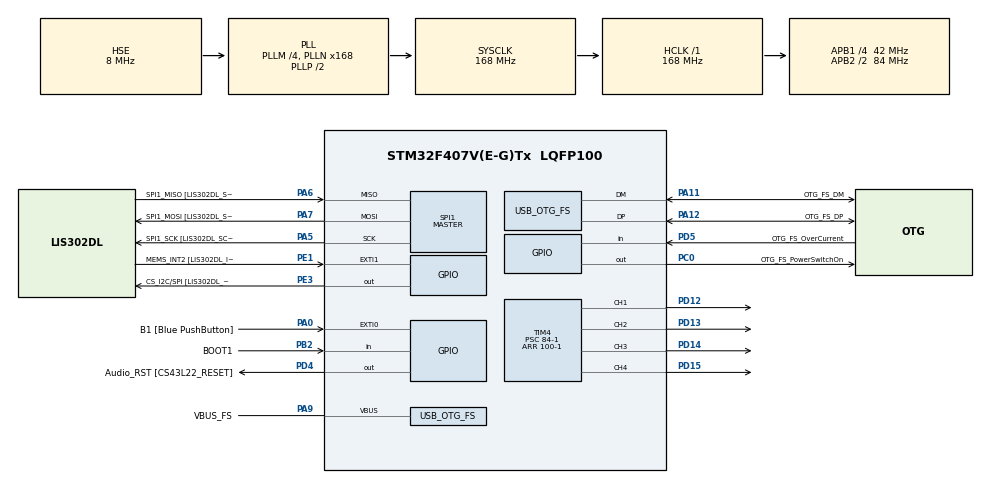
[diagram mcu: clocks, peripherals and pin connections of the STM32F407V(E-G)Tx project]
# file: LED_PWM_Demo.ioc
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Mcu.Family=STM32F4
Mcu.Name=STM32F407V(E-G)Tx
Mcu.Package=LQFP100
NVIC.OTG_FS_IRQn=true\:0\:0\:false\:false\:true\:true\:true\:true
NVIC.PriorityGroup=NVIC_PRIORITYGROUP_0
PA0-WKUP.GPIO_Label=B1 [Blue PushButton]
PA0-WKUP.GPIO_ModeDefaultEXTI=GPIO_MODE_EVT_RISING
PA0-WKUP.GPIO_PuPd=GPIO_NOPULL
PA0-WKUP.Signal=GPXTI0
PA10.GPIO_Label=OTG_FS_ID
PA10.GPIO_Mode=GPIO_MODE_AF_PP
PA10.GPIO_PuPd=GPIO_NOPULL
PA10.GPIO_Speed=GPIO_SPEED_FREQ_LOW
PA10.Signal=USB_OTG_FS_ID
PA11.GPIO_Label=OTG_FS_DM
PA11.GPIO_Mode=GPIO_MODE_AF_PP
PA11.GPIO_PuPd=GPIO_NOPULL
PA11.GPIO_Speed=GPIO_SPEED_FREQ_LOW
PA11.Mode=Device_Only
PA11.Signal=USB_OTG_FS_DM
PA12.GPIO_Label=OTG_FS_DP
PA12.GPIO_Mode=GPIO_MODE_AF_PP
PA12.GPIO_PuPd=GPIO_NOPULL
PA12.GPIO_Speed=GPIO_SPEED_FREQ_LOW
PA12.Mode=Device_Only
PA12.Signal=USB_OTG_FS_DP
PA13.GPIO_Label=SWDIO
PA13.Mode=Serial_Wire
PA13.Signal=SYS_JTMS-SWDIO
PA14.GPIO_Label=SWCLK
PA14.Mode=Serial_Wire
PA14.Signal=SYS_JTCK-SWCLK
PA4.GPIO_Label=I2S3_WS [CS43L22_LRCK]
PA4.GPIO_Mode=GPIO_MODE_AF_PP
PA4.GPIO_PuPd=GPIO_NOPULL
PA4.GPIO_Speed=GPIO_SPEED_FREQ_LOW
PA4.Signal=I2S3_WS
PA5.GPIO_Label=SPI1_SCK [LIS302DL_SCL/SPC]
PA5.GPIO_Mode=GPIO_MODE_AF_PP
PA5.GPIO_PuPd=GPIO_NOPULL
PA5.GPIO_Speed=GPIO_SPEED_FREQ_LOW
PA5.Mode=Full_Duplex_Master
PA5.Signal=SPI1_SCK
PA6.GPIO_Label=SPI1_MISO [LIS302DL_SDO]
PA6.GPIO_Mode=GPIO_MODE_AF_PP
PA6.GPIO_PuPd=GPIO_NOPULL
PA6.GPIO_Speed=GPIO_SPEED_FREQ_LOW
PA6.Mode=Full_Duplex_Master
PA6.Signal=SPI1_MISO
PA7.GPIO_Label=SPI1_MOSI [LIS302DL_SDA/SDI/SDO]
PA7.GPIO_Mode=GPIO_MODE_AF_PP
PA7.GPIO_PuPd=GPIO_NOPULL
PA7.GPIO_Speed=GPIO_SPEED_FREQ_LOW
PA7.Mode=Full_Duplex_Master
PA7.Signal=SPI1_MOSI
PA9.GPIO_Label=VBUS_FS
PA9.GPIO_Mode=GPIO_MODE_INPUT
PA9.GPIO_PuPd=GPIO_NOPULL
PA9.Mode=Activate_VBUS
PA9.Signal=USB_OTG_FS_VBUS
PB10.GPIO_Label=CLK_IN [MP45DT02_CLK]
PB10.GPIO_Mode=GPIO_MODE_AF_PP
PB10.GPIO_PuPd=GPIO_NOPULL
PB10.GPIO_Speed=GPIO_SPEED_FREQ_LOW
PB10.Signal=I2S2_CK
PB2.GPIO_Label=BOOT1
PB2.GPIO_Mode=GPIO_MODE_INPUT
PB2.GPIO_PuPd=GPIO_NOPULL
PB2.Signal=GPIO_Input
PB3.GPIO_Label=SWO
PB3.Signal=SYS_JTDO-SWO
PB6.GPIO_Label=Audio_SCL [CS43L22_SCL]
PB6.GPIO_Mode=GPIO_MODE_AF_OD
PB6.GPIO_PuPd=GPIO_NOPULL
PB6.GPIO_Speed=GPIO_SPEED_FREQ_LOW
PB6.Signal=I2C1_SCL
PB9.GPIO_Label=Audio_SDA [CS43L22_SDA]
PB9.GPIO_Mode=GPIO_MODE_AF_OD
PB9.GPIO_PuPd=GPIO_NOPULL
PB9.GPIO_Speed=GPIO_SPEED_FREQ_LOW
PB9.Signal=I2C1_SDA
PC0.GPIO_Label=OTG_FS_PowerSwitchOn
PC0.GPIO_PuPd=GPIO_NOPULL
PC0.GPIO_Speed=GPIO_SPEED_FREQ_LOW
PC0.PinState=GPIO_PIN_SET
PC0.Signal=GPIO_Output
PC10.GPIO_Label=I2S3_SCK [CS43L22_SCLK]
PC10.GPIO_Mode=GPIO_MODE_AF_PP
PC10.GPIO_PuPd=GPIO_NOPULL
PC10.GPIO_Speed=GPIO_SPEED_FREQ_LOW
PC10.Signal=I2S3_CK
PC12.GPIO_Label=I2S3_SD [CS43L22_SDIN]
PC12.GPIO_Mode=GPIO_MODE_AF_PP
PC12.GPIO_PuPd=GPIO_NOPULL
PC12.GPIO_Speed=GPIO_SPEED_FREQ_LOW
PC12.Signal=I2S3_SD
PC14-OSC32_IN.GPIO_Label=PC14-OSC32_IN
PC14-OSC32_IN.Mode=LSE-External-Oscillator
PC14-OSC32_IN.Signal=RCC_OSC32_IN
PC15-OSC32_OUT.GPIO_Label=PC15-OSC32_OUT
PC15-OSC32_OUT.Mode=LSE-External-Oscillator
PC15-OSC32_OUT.Signal=RCC_OSC32_OUT
PC3.GPIO_Label=PDM_OUT [MP45DT02_DOUT]
PC3.GPIO_Mode=GPIO_MODE_AF_PP
PC3.GPIO_PuPd=GPIO_NOPULL
PC3.GPIO_Speed=GPIO_SPEED_FREQ_LOW
PC3.Signal=I2S2_SD
PC7.GPIO_Label=I2S3_MCK [CS43L22_MCLK]
PC7.GPIO_Mode=GPIO_MODE_AF_PP
PC7.GPIO_PuPd=GPIO_NOPULL
PC7.GPIO_Speed=GPIO_SPEED_FREQ_LOW
PC7.Signal=I2S3_MCK
PD12.Signal=S_TIM4_CH1
PD13.Signal=S_TIM4_CH2
PD14.Signal=S_TIM4_CH3
PD15.Signal=S_TIM4_CH4
PD4.GPIO_Label=Audio_RST [CS43L22_RESET]
PD4.GPIO_PuPd=GPIO_NOPULL
PD4.GPIO_Speed=GPIO_SPEED_FREQ_LOW
PD4.Signal=GPIO_Output
PD5.GPIO_Label=OTG_FS_OverCurrent
PD5.GPIO_Mode=GPIO_MODE_INPUT
PD5.GPIO_PuPd=GPIO_NOPULL
PD5.Signal=GPIO_Input
PE1.GPIO_Label=MEMS_INT2 [LIS302DL_INT2]
PE1.GPIO_ModeDefaultEXTI=GPIO_MODE_EVT_RISING
PE1.GPIO_PuPd=GPIO_NOPULL
PE1.Signal=GPXTI1
PE3.GPIO_Label=CS_I2C/SPI [LIS302DL_CS_I2C/SPI]
PE3.GPIO_PuPd=GPIO_NOPULL
PE3.GPIO_Speed=GPIO_SPEED_FREQ_LOW
PE3.Signal=GPIO_Output
PH0-OSC_IN.GPIO_Label=PH0-OSC_IN
PH0-OSC_IN.Mode=HSE-External-Oscillator
PH0-OSC_IN.Signal=RCC_OSC_IN
PH1-OSC_OUT.GPIO_Label=PH1-OSC_OUT
PH1-OSC_OUT.Mode=HSE-External-Oscillator
PH1-OSC_OUT.Signal=RCC_OSC_OUT
ProjectManager.HeapSize=0x200
ProjectManager.StackSize=0x400
ProjectManager.TargetToolchain=STM32CubeIDE
RCC.48MHZClocksFreq_Value=48000000
RCC.AHBFreq_Value=168000000
RCC.APB1CLKDivider=RCC_HCLK_DIV4
RCC.APB1Freq_Value=42000000
RCC.APB1TimFreq_Value=84000000
RCC.APB2CLKDivider=RCC_HCLK_DIV2
RCC.APB2Freq_Value=84000000
RCC.APB2TimFreq_Value=168000000
RCC.CortexFreq_Value=168000000
RCC.HCLKFreq_Value=168000000
RCC.HSE_VALUE=8000000
RCC.HSI_VALUE=16000000
RCC.PLLI2SN=50
RCC.PLLM=4
RCC.PLLN=168
RCC.PLLQ=7
RCC.SYSCLKFreq_VALUE=168000000
RCC.SYSCLKSource=RCC_SYSCLKSOURCE_PLLCLK
RCC.VCOOutputFreq_Value=336000000
SH.S_TIM4_CH1.0=TIM4_CH1,PWM Generation1 CH1
SH.S_TIM4_CH2.0=TIM4_CH2,PWM Generation2 CH2
SH.S_TIM4_CH3.0=TIM4_CH3,PWM Generation3 CH3
SH.S_TIM4_CH4.0=TIM4_CH4,PWM Generation4 CH4
SPI1.BaudRatePrescaler-Full_Duplex_Master=SPI_BAUDRATEPRESCALER_2
SPI1.CalculateBaudRate-Full_Duplex_Master=42.0 MBits/s
SPI1.Direction=SPI_DIRECTION_2LINES
SPI1.Mode=SPI_MODE_MASTER
SPI1.Mode-Full_Duplex_Master=SPI_MODE_MASTER
SPI1.VirtualType=VM_MASTER
TIM4.Channel-PWM\ Generation1\ CH1=TIM_CHANNEL_1
TIM4.Channel-PWM\ Generation2\ CH2=TIM_CHANNEL_2
TIM4.Channel-PWM\ Generation3\ CH3=TIM_CHANNEL_3
TIM4.Channel-PWM\ Generation4\ CH4=TIM_CHANNEL_4
TIM4.Period=100-1
TIM4.Prescaler=84-1
USB_DEVICE.CLASS_NAME_FS=CDC
USB_DEVICE.VirtualMode-CDC_FS=Cdc
USB_DEVICE.VirtualModeFS=Cdc_FS
USB_OTG_FS.VirtualMode=Device_Only
VP_TIM4_VS_ClockSourceINT.Mode=Internal
VP_USB_DEVICE_VS_USB_DEVICE_CDC_FS.Mode=CDC_FS
board=STM32F407G-DISC1

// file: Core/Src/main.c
/* USER CODE BEGIN Header */
/**
  ******************************************************************************
  * @file           : main.c
  * @brief          : Main program body
  ******************************************************************************
  * @attention
  *
  * <h2><center>&copy; Copyright (c) 2021 STMicroelectronics.
  * All rights reserved.</center></h2>
  *
  * This software component is licensed by ST under Ultimate Liberty license
  * SLA0044, the "License"; You may not use this file except in compliance with
  * the License. You may obtain a copy of the License at:
  *                             www.st.com/SLA0044
  *
  ******************************************************************************
  */
/* USER CODE END Header */
#include "main.h"
#include "usb_device.h"

SPI_HandleTypeDef hspi1;

TIM_HandleTypeDef htim4;

/* USER CODE BEGIN PV */
#define BUFSIZE 256
char SendBuffer[BUFSIZE];

/* USER CODE END PV */

void SystemClock_Config(void);
static void MX_GPIO_Init(void);
static void MX_SPI1_Init(void);
static void MX_TIM4_Init(void);

int main(void)
{
  /* USER CODE BEGIN 1 */

	int duty = 0;

  /* USER CODE END 1 */

  /* MCU Configuration--------------------------------------------------------*/

  /* Reset of all peripherals, Initializes the Flash interface and the Systick. */
  HAL_Init();

  /* Configure the system clock */
  SystemClock_Config();

  /* Initialize all configured peripherals */
  MX_GPIO_Init();
  MX_SPI1_Init();
  MX_USB_DEVICE_Init();
  MX_TIM4_Init();
  /* USER CODE BEGIN 2 */

  HAL_TIM_PWM_Start(&htim4, TIM_CHANNEL_1);
  HAL_TIM_PWM_Start(&htim4, TIM_CHANNEL_2);
  HAL_TIM_PWM_Start(&htim4, TIM_CHANNEL_3);
  HAL_TIM_PWM_Start(&htim4, TIM_CHANNEL_4);

  /* USER CODE END 2 */

  /* Infinite loop */
  /* USER CODE BEGIN WHILE */
  while (1)
  {
	  htim4.Instance->CCR1 = duty;
	  htim4.Instance->CCR2 = 100-duty;
	  htim4.Instance->CCR3 = duty;
	  htim4.Instance->CCR4 = 100-duty;

    /* USER CODE END WHILE */

    /* USER CODE BEGIN 3 */
	    snprintf (SendBuffer,BUFSIZE,"USB:0.1 secs. Duty=%d%%\r\n",duty);
	    CDC_Transmit_FS(SendBuffer,strlen(SendBuffer));

	      duty = (duty + 1) ;
	      if (duty > 100 )
	        duty = 0;

	    HAL_Delay(100);

  }
  /* USER CODE END 3 */
}

void SystemClock_Config(void)
{
  RCC_OscInitTypeDef RCC_OscInitStruct = {0};
  RCC_ClkInitTypeDef RCC_ClkInitStruct = {0};

  /** Configure the main internal regulator output voltage
  */
  __HAL_RCC_PWR_CLK_ENABLE();
  __HAL_PWR_VOLTAGESCALING_CONFIG(PWR_REGULATOR_VOLTAGE_SCALE1);
  /** Initializes the RCC Oscillators according to the specified parameters
  * in the RCC_OscInitTypeDef structure.
  */
  RCC_OscInitStruct.OscillatorType = RCC_OSCILLATORTYPE_HSE;
  RCC_OscInitStruct.HSEState = RCC_HSE_ON;
  RCC_OscInitStruct.PLL.PLLState = RCC_PLL_ON;
  RCC_OscInitStruct.PLL.PLLSource = RCC_PLLSOURCE_HSE;
  RCC_OscInitStruct.PLL.PLLM = 4;
  RCC_OscInitStruct.PLL.PLLN = 168;
  RCC_OscInitStruct.PLL.PLLP = RCC_PLLP_DIV2;
  RCC_OscInitStruct.PLL.PLLQ = 7;
  if (HAL_RCC_OscConfig(&RCC_OscInitStruct) != HAL_OK)
  {
    Error_Handler();
  }
  /** Initializes the CPU, AHB and APB buses clocks
  */
  RCC_ClkInitStruct.ClockType = RCC_CLOCKTYPE_HCLK|RCC_CLOCKTYPE_SYSCLK
                              |RCC_CLOCKTYPE_PCLK1|RCC_CLOCKTYPE_PCLK2;
  RCC_ClkInitStruct.SYSCLKSource = RCC_SYSCLKSOURCE_PLLCLK;
  RCC_ClkInitStruct.AHBCLKDivider = RCC_SYSCLK_DIV1;
  RCC_ClkInitStruct.APB1CLKDivider = RCC_HCLK_DIV4;
  RCC_ClkInitStruct.APB2CLKDivider = RCC_HCLK_DIV2;

  if (HAL_RCC_ClockConfig(&RCC_ClkInitStruct, FLASH_LATENCY_5) != HAL_OK)
  {
    Error_Handler();
  }
}

static void MX_SPI1_Init(void)
{

  /* SPI1 parameter configuration*/
  hspi1.Instance = SPI1;
  hspi1.Init.Mode = SPI_MODE_MASTER;
  hspi1.Init.Direction = SPI_DIRECTION_2LINES;
  hspi1.Init.DataSize = SPI_DATASIZE_8BIT;
  hspi1.Init.CLKPolarity = SPI_POLARITY_LOW;
  hspi1.Init.CLKPhase = SPI_PHASE_1EDGE;
  hspi1.Init.NSS = SPI_NSS_SOFT;
  hspi1.Init.BaudRatePrescaler = SPI_BAUDRATEPRESCALER_2;
  hspi1.Init.FirstBit = SPI_FIRSTBIT_MSB;
  hspi1.Init.TIMode = SPI_TIMODE_DISABLE;
  hspi1.Init.CRCCalculation = SPI_CRCCALCULATION_DISABLE;
  hspi1.Init.CRCPolynomial = 10;
  if (HAL_SPI_Init(&hspi1) != HAL_OK)
  {
    Error_Handler();
  }

}

static void MX_TIM4_Init(void)
{

  TIM_ClockConfigTypeDef sClockSourceConfig = {0};
  TIM_MasterConfigTypeDef sMasterConfig = {0};
  TIM_OC_InitTypeDef sConfigOC = {0};

  htim4.Instance = TIM4;
  htim4.Init.Prescaler = 84-1;
  htim4.Init.CounterMode = TIM_COUNTERMODE_UP;
  htim4.Init.Period = 100-1;
  htim4.Init.ClockDivision = TIM_CLOCKDIVISION_DIV1;
  htim4.Init.AutoReloadPreload = TIM_AUTORELOAD_PRELOAD_DISABLE;
  if (HAL_TIM_Base_Init(&htim4) != HAL_OK)
  {
    Error_Handler();
  }
  sClockSourceConfig.ClockSource = TIM_CLOCKSOURCE_INTERNAL;
  if (HAL_TIM_ConfigClockSource(&htim4, &sClockSourceConfig) != HAL_OK)
  {
    Error_Handler();
  }
  if (HAL_TIM_PWM_Init(&htim4) != HAL_OK)
  {
    Error_Handler();
  }
  sMasterConfig.MasterOutputTrigger = TIM_TRGO_RESET;
  sMasterConfig.MasterSlaveMode = TIM_MASTERSLAVEMODE_DISABLE;
  if (HAL_TIMEx_MasterConfigSynchronization(&htim4, &sMasterConfig) != HAL_OK)
  {
    Error_Handler();
  }
  sConfigOC.OCMode = TIM_OCMODE_PWM1;
  sConfigOC.Pulse = 0;
  sConfigOC.OCPolarity = TIM_OCPOLARITY_HIGH;
  sConfigOC.OCFastMode = TIM_OCFAST_DISABLE;
  if (HAL_TIM_PWM_ConfigChannel(&htim4, &sConfigOC, TIM_CHANNEL_1) != HAL_OK)
  {
    Error_Handler();
  }
  if (HAL_TIM_PWM_ConfigChannel(&htim4, &sConfigOC, TIM_CHANNEL_2) != HAL_OK)
  {
    Error_Handler();
  }
  if (HAL_TIM_PWM_ConfigChannel(&htim4, &sConfigOC, TIM_CHANNEL_3) != HAL_OK)
  {
    Error_Handler();
  }
  if (HAL_TIM_PWM_ConfigChannel(&htim4, &sConfigOC, TIM_CHANNEL_4) != HAL_OK)
  {
    Error_Handler();
  }
  HAL_TIM_MspPostInit(&htim4);

}

static void MX_GPIO_Init(void)
{
  GPIO_InitTypeDef GPIO_InitStruct = {0};

  /* GPIO Ports Clock Enable */
  __HAL_RCC_GPIOE_CLK_ENABLE();
  __HAL_RCC_GPIOC_CLK_ENABLE();
  __HAL_RCC_GPIOH_CLK_ENABLE();
  __HAL_RCC_GPIOA_CLK_ENABLE();
  __HAL_RCC_GPIOB_CLK_ENABLE();
  __HAL_RCC_GPIOD_CLK_ENABLE();

  /*Configure GPIO pin Output Level */
  HAL_GPIO_WritePin(CS_I2C_SPI_GPIO_Port, CS_I2C_SPI_Pin, GPIO_PIN_RESET);

  /*Configure GPIO pin Output Level */
  HAL_GPIO_WritePin(OTG_FS_PowerSwitchOn_GPIO_Port, OTG_FS_PowerSwitchOn_Pin, GPIO_PIN_SET);

  /*Configure GPIO pin Output Level */
  HAL_GPIO_WritePin(Audio_RST_GPIO_Port, Audio_RST_Pin, GPIO_PIN_RESET);

  /*Configure GPIO pin : CS_I2C_SPI_Pin */
  GPIO_InitStruct.Pin = CS_I2C_SPI_Pin;
  GPIO_InitStruct.Mode = GPIO_MODE_OUTPUT_PP;
  GPIO_InitStruct.Pull = GPIO_NOPULL;
  GPIO_InitStruct.Speed = GPIO_SPEED_FREQ_LOW;
  HAL_GPIO_Init(CS_I2C_SPI_GPIO_Port, &GPIO_InitStruct);

  /*Configure GPIO pin : OTG_FS_PowerSwitchOn_Pin */
  GPIO_InitStruct.Pin = OTG_FS_PowerSwitchOn_Pin;
  GPIO_InitStruct.Mode = GPIO_MODE_OUTPUT_PP;
  GPIO_InitStruct.Pull = GPIO_NOPULL;
  GPIO_InitStruct.Speed = GPIO_SPEED_FREQ_LOW;
  HAL_GPIO_Init(OTG_FS_PowerSwitchOn_GPIO_Port, &GPIO_InitStruct);

  /*Configure GPIO pin : PDM_OUT_Pin */
  GPIO_InitStruct.Pin = PDM_OUT_Pin;
  GPIO_InitStruct.Mode = GPIO_MODE_AF_PP;
  GPIO_InitStruct.Pull = GPIO_NOPULL;
  GPIO_InitStruct.Speed = GPIO_SPEED_FREQ_LOW;
  GPIO_InitStruct.Alternate = GPIO_AF5_SPI2;
  HAL_GPIO_Init(PDM_OUT_GPIO_Port, &GPIO_InitStruct);

  /*Configure GPIO pin : B1_Pin */
  GPIO_InitStruct.Pin = B1_Pin;
  GPIO_InitStruct.Mode = GPIO_MODE_EVT_RISING;
  GPIO_InitStruct.Pull = GPIO_NOPULL;
  HAL_GPIO_Init(B1_GPIO_Port, &GPIO_InitStruct);

  /*Configure GPIO pin : I2S3_WS_Pin */
  GPIO_InitStruct.Pin = I2S3_WS_Pin;
  GPIO_InitStruct.Mode = GPIO_MODE_AF_PP;
  GPIO_InitStruct.Pull = GPIO_NOPULL;
  GPIO_InitStruct.Speed = GPIO_SPEED_FREQ_LOW;
  GPIO_InitStruct.Alternate = GPIO_AF6_SPI3;
  HAL_GPIO_Init(I2S3_WS_GPIO_Port, &GPIO_InitStruct);

  /*Configure GPIO pin : BOOT1_Pin */
  GPIO_InitStruct.Pin = BOOT1_Pin;
  GPIO_InitStruct.Mode = GPIO_MODE_INPUT;
  GPIO_InitStruct.Pull = GPIO_NOPULL;
  HAL_GPIO_Init(BOOT1_GPIO_Port, &GPIO_InitStruct);

  /*Configure GPIO pin : CLK_IN_Pin */
  GPIO_InitStruct.Pin = CLK_IN_Pin;
  GPIO_InitStruct.Mode = GPIO_MODE_AF_PP;
  GPIO_InitStruct.Pull = GPIO_NOPULL;
  GPIO_InitStruct.Speed = GPIO_SPEED_FREQ_LOW;
  GPIO_InitStruct.Alternate = GPIO_AF5_SPI2;
  HAL_GPIO_Init(CLK_IN_GPIO_Port, &GPIO_InitStruct);

  /*Configure GPIO pins : I2S3_MCK_Pin I2S3_SCK_Pin I2S3_SD_Pin */
  GPIO_InitStruct.Pin = I2S3_MCK_Pin|I2S3_SCK_Pin|I2S3_SD_Pin;
  GPIO_InitStruct.Mode = GPIO_MODE_AF_PP;
  GPIO_InitStruct.Pull = GPIO_NOPULL;
  GPIO_InitStruct.Speed = GPIO_SPEED_FREQ_LOW;
  GPIO_InitStruct.Alternate = GPIO_AF6_SPI3;
  HAL_GPIO_Init(GPIOC, &GPIO_InitStruct);

  /*Configure GPIO pin : Audio_RST_Pin */
  GPIO_InitStruct.Pin = Audio_RST_Pin;
  GPIO_InitStruct.Mode = GPIO_MODE_OUTPUT_PP;
  GPIO_InitStruct.Pull = GPIO_NOPULL;
  GPIO_InitStruct.Speed = GPIO_SPEED_FREQ_LOW;
  HAL_GPIO_Init(Audio_RST_GPIO_Port, &GPIO_InitStruct);

  /*Configure GPIO pin : OTG_FS_OverCurrent_Pin */
  GPIO_InitStruct.Pin = OTG_FS_OverCurrent_Pin;
  GPIO_InitStruct.Mode = GPIO_MODE_INPUT;
  GPIO_InitStruct.Pull = GPIO_NOPULL;
  HAL_GPIO_Init(OTG_FS_OverCurrent_GPIO_Port, &GPIO_InitStruct);

  /*Configure GPIO pins : Audio_SCL_Pin Audio_SDA_Pin */
  GPIO_InitStruct.Pin = Audio_SCL_Pin|Audio_SDA_Pin;
  GPIO_InitStruct.Mode = GPIO_MODE_AF_OD;
  GPIO_InitStruct.Pull = GPIO_PULLUP;
  GPIO_InitStruct.Speed = GPIO_SPEED_FREQ_LOW;
  GPIO_InitStruct.Alternate = GPIO_AF4_I2C1;
  HAL_GPIO_Init(GPIOB, &GPIO_InitStruct);

  /*Configure GPIO pin : MEMS_INT2_Pin */
  GPIO_InitStruct.Pin = MEMS_INT2_Pin;
  GPIO_InitStruct.Mode = GPIO_MODE_EVT_RISING;
  GPIO_InitStruct.Pull = GPIO_NOPULL;
  HAL_GPIO_Init(MEMS_INT2_GPIO_Port, &GPIO_InitStruct);

}

void Error_Handler(void)
{
  __disable_irq();
  while (1)
  {
  }
}

/************************ (C) COPYRIGHT STMicroelectronics *****END OF FILE****/
